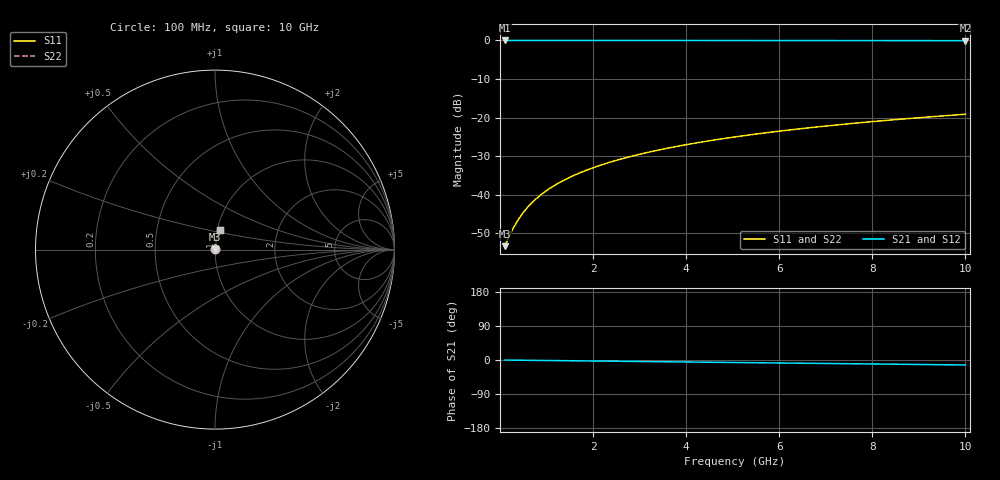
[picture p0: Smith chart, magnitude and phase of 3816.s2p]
# Hz S RI R 50.00
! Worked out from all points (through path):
!   100 points, 100 MHz to 10 GHz, reference 50 ohm
!   highest |S21| = -0.02 dB at 100 MHz (marker M1); lowest = -0.1 dB at 10 GHz (marker M2)
!   group delay of S21, straight-line fit = 3.64 ps
!   lowest |S11| = -53.4 dB at 100 MHz (marker M3), VSWR 1.00, Z = 50.2 + j0.111 ohm
!   |S11| at or under -10 dB: start of sweep to end of sweep
!   |S22| runs from -53.4 to -19.1 dB; largest |S21 - S12| = 1e-13
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1e8  0.00184 0.00111  0.9982 -0.00228  0.9982 -0.00228  0.00184 0.00111
2e8  0.00186 0.00222  0.9981 -0.00456  0.9981 -0.00456  0.00186 0.00222
3e8  0.00188 0.00332  0.9981 -0.00685  0.9981 -0.00685  0.00188 0.00332
4e8  0.00191 0.00443  0.9981 -0.00913  0.9981 -0.00913  0.00191 0.00443
5e8  0.00194 0.00554  0.998 -0.0114  0.998 -0.0114  0.00194 0.00554
6e8  0.00197 0.00665  0.998 -0.0137  0.998 -0.0137  0.00197 0.00665
7e8  0.00201 0.00775  0.998 -0.016  0.998 -0.016  0.00201 0.00775
9e8  0.0021 0.00997  0.9978 -0.0205  0.9978 -0.0205  0.0021 0.00997
1e9  0.00215 0.0111  0.9978 -0.0228  0.9978 -0.0228  0.00215 0.0111
1.2e9  0.00227 0.0133  0.9976 -0.0274  0.9976 -0.0274  0.00227 0.0133
1.5e9  0.00248 0.0166  0.9973 -0.0342  0.9973 -0.0342  0.00248 0.0166
1.8e9  0.00274 0.0199  0.997 -0.0411  0.997 -0.0411  0.00274 0.0199
2.1e9  0.00304 0.0232  0.9966 -0.0479  0.9966 -0.0479  0.00304 0.0232
2.5e9  0.00351 0.0276  0.996 -0.057  0.996 -0.057  0.00351 0.0276
2.9e9  0.00407 0.032  0.9953 -0.0661  0.9953 -0.0661  0.00407 0.032
3.4e9  0.00487 0.0375  0.9943 -0.0775  0.9943 -0.0775  0.00487 0.0375
4.2e9  0.00642 0.0462  0.9923 -0.0956  0.9923 -0.0956  0.00642 0.0462
5.1e9  0.00854 0.056  0.9896 -0.116  0.9896 -0.116  0.00854 0.056
5.9e9  0.0108 0.0646  0.9868 -0.134  0.9868 -0.134  0.0108 0.0646
6.7e9  0.0133 0.073  0.9835 -0.152  0.9835 -0.152  0.0133 0.073
8.4e9  0.0197 0.0908  0.9753 -0.1898  0.9753 -0.1898  0.0197 0.0908
1e10  0.027 0.1069  0.9659 -0.2249  0.9659 -0.2249  0.027 0.1069
